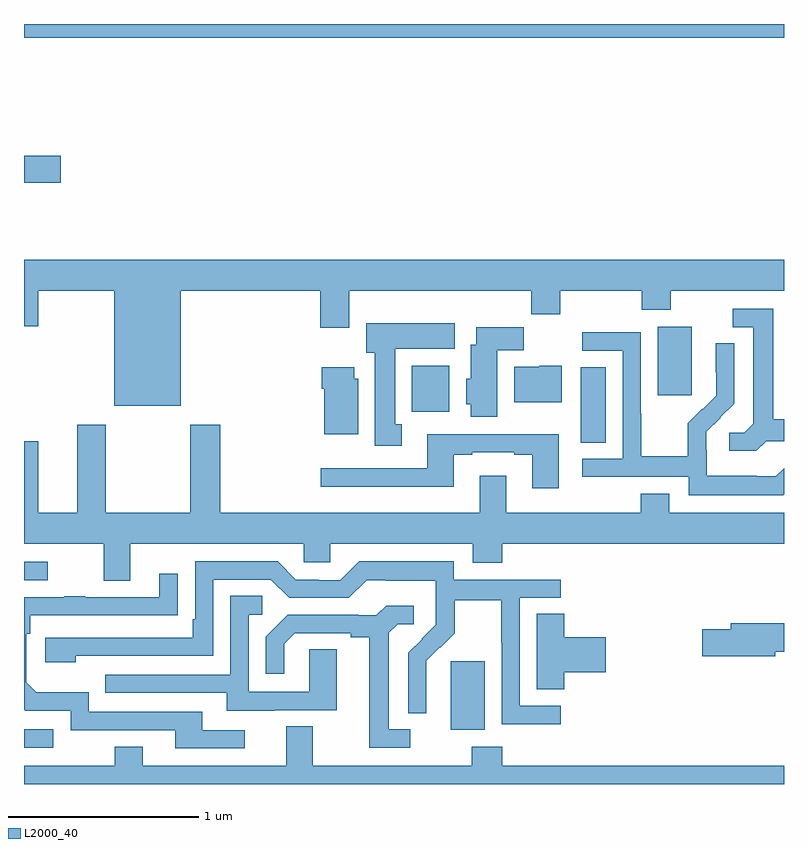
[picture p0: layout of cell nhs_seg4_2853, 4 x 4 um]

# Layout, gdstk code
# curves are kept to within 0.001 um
import gdstk
lib = gdstk.Library(unit=1e-6, precision=1e-09)
def R(c, l, rs):  # rectangles x0, y0, x1, y1
    for r in rs: c.add(gdstk.rectangle(r[:2], r[2:], *l))
def P(c, l, *ps):  # polygons
    for p in ps: c.add(gdstk.Polygon(p, *l))
L2000_40 = (2000, 40)

nhs_seg4_2853 = lib.new_cell('nhs_seg4_2853')
R(nhs_seg4_2853, L2000_40, [(261,785.091,261.154,785.187), (263.246,785.186,263.425,785.547), (261,785.973,261.124,786.069), (263.93,786.697,264.061,787.094), (263.042,786.86,263.239,787.102), (264.335,786.945,264.514,787.306), (261,788.065,261.193,788.207), (261,788.828,265,788.9)])
P(nhs_seg4_2853, L2000_40, [(261.826,787.496),(262.559,787.496),(262.559,787.302),(262.711,787.302),(262.711,787.496),(263.671,787.496),(263.671,787.372),(263.823,787.372),(263.823,787.496),(264.25,787.496),(264.25,787.397),(264.405,787.397),(264.405,787.496),(265,787.496),(265,787.66),(261,787.66),(261,787.308),(261.076,787.308),(261.076,787.496),(261.476,787.496),(261.476,786.89),(261.826,786.89)],
  [(264.906,786.705),(265,786.705),(265,786.821),(264.943,786.821),(264.943,787.401),(264.729,787.401),(264.729,787.305),(264.839,787.305),(264.839,786.797),(264.792,786.75),(264.711,786.75),(264.711,786.653),(264.854,786.653)],
  [(262.987,786.794),(262.954,786.794),(262.954,787.19),(263.266,787.19),(263.266,787.324),(262.802,787.324),(262.802,787.17),(262.847,787.17),(262.847,786.681),(262.987,786.681)],
  [(263.491,787.184),(263.63,787.184),(263.63,787.303),(263.381,787.303),(263.381,787.213),(263.351,787.213),(263.351,787.032),(263.327,787.032),(263.327,786.9),(263.351,786.9),(263.351,786.833),(263.491,786.833)],
  [(265,786.424),(265,786.562),(264.957,786.519),(264.857,786.519),(264.857,786.523),(264.594,786.523),(264.594,786.657),(264.592,786.657),(264.592,786.754),(264.738,786.902),(264.738,787.22),(264.642,787.22),(264.642,787.066),(264.644,787.066),(264.644,786.944),(264.573,786.873),(264.57,786.876),(264.493,786.799),(264.493,786.625),(264.249,786.625),(264.249,786.848),(264.246,786.848),(264.246,787.278),(263.937,787.278),(263.937,787.179),(264.15,787.179),(264.15,786.612),(263.937,786.612),(263.937,786.516),(264.498,786.516),(264.498,786.419),(264.995,786.419)],
  [(263.83,787.102),(263.712,787.102),(263.712,787.096),(263.579,787.096),(263.579,786.908),(263.83,786.908)],
  [(262.759,787.032),(262.738,787.032),(262.738,787.093),(262.568,787.093),(262.568,786.98),(262.58,786.98),(262.58,786.74),(262.759,786.74)],
  [(261.559,786.164),(262.473,786.164),(262.473,786.066),(262.611,786.066),(262.611,786.164),(263.363,786.164),(263.363,786.065),(263.516,786.065),(263.516,786.164),(265,786.164),(265,786.328),(264.397,786.328),(264.397,786.427),(264.245,786.427),(264.245,786.328),(263.539,786.328),(263.539,786.523),(263.399,786.523),(263.399,786.328),(262.034,786.328),(262.034,786.79),(261.874,786.79),(261.874,786.328),(261.429,786.328),(261.429,786.79),(261.281,786.79),(261.281,786.328),(261.076,786.328),(261.076,786.703),(261,786.703),(261,786.164),(261.419,786.164),(261.419,785.97),(261.559,785.97)],
  [(263.815,786.742),(263.583,786.742),(263.583,786.741),(263.123,786.741),(263.123,786.561),(262.563,786.561),(262.563,786.464),(263.263,786.464),(263.263,786.633),(263.359,786.633),(263.359,786.645),(263.579,786.645),(263.579,786.633),(263.675,786.633),(263.675,786.456),(263.815,786.456)],
  [(263.824,785.313),(263.61,785.313),(263.61,785.88),(263.824,785.88),(263.824,785.976),(263.262,785.976),(263.262,786.073),(262.765,786.073),(262.665,785.973),(262.55,785.973),(262.55,785.976),(262.431,785.976),(262.335,786.072),(261.9,786.072),(261.9,785.767),(261.887,785.767),(261.887,785.67),(261.111,785.67),(261.111,785.54),(261.272,785.54),(261.272,785.574),(261.996,785.574),(261.996,785.976),(262.299,785.976),(262.395,785.88),(262.71,785.88),(262.803,785.973),(262.903,785.973),(262.903,785.969),(263.166,785.969),(263.166,785.835),(263.168,785.835),(263.168,785.738),(263.022,785.59),(263.022,785.272),(263.118,785.272),(263.117,785.549),(263.187,785.619),(263.19,785.616),(263.267,785.693),(263.267,785.868),(263.512,785.868),(263.512,785.644),(263.514,785.644),(263.514,785.215),(263.824,785.215)],
  [(262.162,785.184),(261.937,785.184),(261.937,785.28),(261.342,785.28),(261.342,785.383),(261.065,785.383),(261.012,785.436),(261.012,785.69),(261.032,785.69),(261.032,785.787),(261.809,785.788),(261.809,786.007),(261.713,786.007),(261.713,785.883),(261.323,785.883),(261.323,785.888),(261.211,785.888),(261.211,785.883),(261,785.883),(261,785.292),(261.006,785.286),(261.246,785.286),(261.246,785.184),(261.797,785.184),(261.797,785.088),(262.162,785.088)],
  [(262.321,785.289),(262.645,785.289),(262.645,785.609),(262.5,785.609),(262.5,785.385),(262.182,785.385),(262.182,785.79),(262.255,785.79),(262.255,785.891),(262.086,785.891),(262.086,785.475),(261.427,785.475),(261.427,785.379),(262.067,785.379),(262.067,785.285),(262.321,785.285)],
  [(263.032,785.187),(262.921,785.187),(262.921,785.695),(262.968,785.742),(263.05,785.742),(263.05,785.839),(262.906,785.839),(262.854,785.787),(262.76,785.787),(262.76,785.79),(262.388,785.79),(262.272,785.674),(262.272,785.481),(262.369,785.481),(262.369,785.637),(262.426,785.694),(262.721,785.694),(262.721,785.672),(262.817,785.672),(262.817,785.091),(263.032,785.091)],
  [(263.843,785.489),(264.061,785.489),(264.061,785.672),(263.843,785.672),(263.843,785.795),(263.699,785.795),(263.699,785.398),(263.843,785.398)],
  [(264.954,785.597),(265,785.597),(265,785.745),(264.719,785.745),(264.719,785.715),(264.57,785.715),(264.57,785.573),(264.954,785.573)],
  [(265,784.996),(263.516,784.996),(263.516,785.095),(263.356,785.095),(263.356,784.996),(262.519,784.996),(262.519,785.204),(262.379,785.204),(262.379,784.996),(261.625,784.996),(261.625,785.095),(261.478,785.095),(261.478,784.996),(261,784.996),(261,784.9),(265,784.9)])

lib.write_gds('nhs_seg4_2853.gds')
